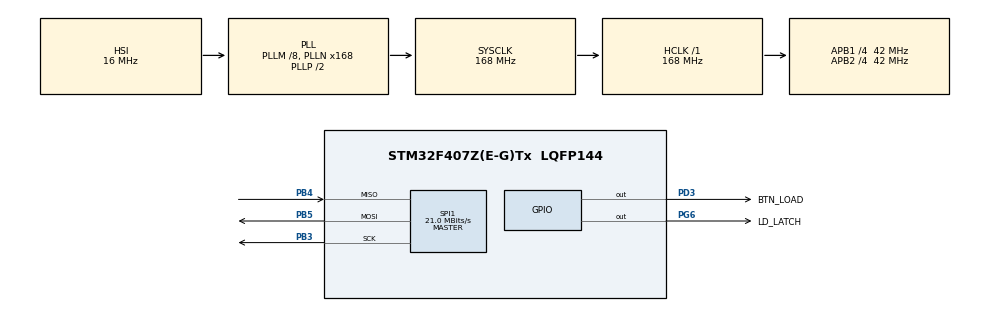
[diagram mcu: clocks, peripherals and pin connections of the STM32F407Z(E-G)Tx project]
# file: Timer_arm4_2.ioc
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Mcu.Family=STM32F4
Mcu.Name=STM32F407Z(E-G)Tx
Mcu.Package=LQFP144
NVIC.PriorityGroup=NVIC_PRIORITYGROUP_4
NVIC.TIM2_IRQn=true\:0\:0\:false\:false\:true\:true\:true\:true
PA13.Mode=Serial_Wire
PA13.Signal=SYS_JTMS-SWDIO
PA14.Mode=Serial_Wire
PA14.Signal=SYS_JTCK-SWCLK
PB3.Mode=Full_Duplex_Master
PB3.Signal=SPI1_SCK
PB4.Mode=Full_Duplex_Master
PB4.Signal=SPI1_MISO
PB5.Mode=Full_Duplex_Master
PB5.Signal=SPI1_MOSI
PD3.GPIO_Label=BTN_LOAD
PD3.Signal=GPIO_Output
PG6.GPIO_Label=LD_LATCH
PG6.Signal=GPIO_Output
PH0-OSC_IN.Mode=HSE-External-Oscillator
PH0-OSC_IN.Signal=RCC_OSC_IN
PH1-OSC_OUT.Mode=HSE-External-Oscillator
PH1-OSC_OUT.Signal=RCC_OSC_OUT
ProjectManager.HeapSize=0x200
ProjectManager.StackSize=0x400
ProjectManager.TargetToolchain=STM32CubeIDE
RCC.48MHZClocksFreq_Value=84000000
RCC.AHBFreq_Value=168000000
RCC.APB1CLKDivider=RCC_HCLK_DIV4
RCC.APB1Freq_Value=42000000
RCC.APB1TimFreq_Value=84000000
RCC.APB2CLKDivider=RCC_HCLK_DIV4
RCC.APB2Freq_Value=42000000
RCC.APB2TimFreq_Value=84000000
RCC.CortexFreq_Value=168000000
RCC.HCLKFreq_Value=168000000
RCC.HSE_VALUE=8000000
RCC.HSI_VALUE=16000000
RCC.LSE_VALUE=32768
RCC.PLLM=8
RCC.PLLN=168
RCC.SYSCLKFreq_VALUE=168000000
RCC.SYSCLKSource=RCC_SYSCLKSOURCE_PLLCLK
RCC.VCOOutputFreq_Value=336000000
SPI1.CalculateBaudRate=21.0 MBits/s
SPI1.Direction=SPI_DIRECTION_2LINES
SPI1.Mode=SPI_MODE_MASTER
SPI1.VirtualType=VM_MASTER
TIM2.Period=100-1
TIM2.Prescaler=840-1
VP_TIM2_VS_ClockSourceINT.Mode=Internal
board=custom

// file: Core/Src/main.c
/* USER CODE BEGIN Header */
/**
  ******************************************************************************
  * @file           : main.c
  * @brief          : Main program body
  ******************************************************************************
  * @attention
  *
  * Copyright (c) 2025 STMicroelectronics.
  * All rights reserved.
  *
  * This software is licensed under terms that can be found in the LICENSE file
  * in the root directory of this software component.
  * If no LICENSE file comes with this software, it is provided AS-IS.
  *
  ******************************************************************************
  */
/* USER CODE END Header */
#include "main.h"
#include "spi.h"
#include "tim.h"
#include "gpio.h"

/* USER CODE BEGIN Includes */
#include "software_timer.h"
#include "led_7seg.h"
/* USER CODE END Includes */

/* USER CODE BEGIN PV */
uint8_t colon_status = 0;
uint8_t colon_counter = 2;
uint8_t second = 50;
uint8_t minute = 14;
uint8_t hour = 15;
/* USER CODE END PV */

void SystemClock_Config(void);
/* USER CODE BEGIN PFP */
void system_init();
void clock_process();
/* USER CODE END PFP */

int main(void)
{

  /* MCU Configuration--------------------------------------------------------*/

  /* Reset of all peripherals, Initializes the Flash interface and the Systick. */
  HAL_Init();

  /* Configure the system clock */
  SystemClock_Config();

  /* Initialize all configured peripherals */
  MX_GPIO_Init();
  MX_TIM2_Init();
  MX_SPI1_Init();
  /* USER CODE BEGIN 2 */
  system_init();
  /* USER CODE END 2 */

  /* Infinite loop */
  /* USER CODE BEGIN WHILE */
  while (1)
  {
	  led_7seg_display();
	  if (timer2_flag == 1) {
		  clock_process();
		  timer2_set(1000);
	  }
    /* USER CODE END WHILE */

  }
}

void SystemClock_Config(void)
{
  RCC_OscInitTypeDef RCC_OscInitStruct = {0};
  RCC_ClkInitTypeDef RCC_ClkInitStruct = {0};

  /** Configure the main internal regulator output voltage
  */
  __HAL_RCC_PWR_CLK_ENABLE();
  __HAL_PWR_VOLTAGESCALING_CONFIG(PWR_REGULATOR_VOLTAGE_SCALE1);

  /** Initializes the RCC Oscillators according to the specified parameters
  * in the RCC_OscInitTypeDef structure.
  */
  RCC_OscInitStruct.OscillatorType = RCC_OSCILLATORTYPE_HSI;
  RCC_OscInitStruct.HSIState = RCC_HSI_ON;
  RCC_OscInitStruct.HSICalibrationValue = RCC_HSICALIBRATION_DEFAULT;
  RCC_OscInitStruct.PLL.PLLState = RCC_PLL_ON;
  RCC_OscInitStruct.PLL.PLLSource = RCC_PLLSOURCE_HSI;
  RCC_OscInitStruct.PLL.PLLM = 8;
  RCC_OscInitStruct.PLL.PLLN = 168;
  RCC_OscInitStruct.PLL.PLLP = RCC_PLLP_DIV2;
  RCC_OscInitStruct.PLL.PLLQ = 4;
  if (HAL_RCC_OscConfig(&RCC_OscInitStruct) != HAL_OK)
  {
    Error_Handler();
  }

  /** Initializes the CPU, AHB and APB buses clocks
  */
  RCC_ClkInitStruct.ClockType = RCC_CLOCKTYPE_HCLK|RCC_CLOCKTYPE_SYSCLK
                              |RCC_CLOCKTYPE_PCLK1|RCC_CLOCKTYPE_PCLK2;
  RCC_ClkInitStruct.SYSCLKSource = RCC_SYSCLKSOURCE_PLLCLK;
  RCC_ClkInitStruct.AHBCLKDivider = RCC_SYSCLK_DIV1;
  RCC_ClkInitStruct.APB1CLKDivider = RCC_HCLK_DIV4;
  RCC_ClkInitStruct.APB2CLKDivider = RCC_HCLK_DIV4;

  if (HAL_RCC_ClockConfig(&RCC_ClkInitStruct, FLASH_LATENCY_5) != HAL_OK)
  {
    Error_Handler();
  }
}

/* USER CODE BEGIN 4 */
void system_init() {
	led_7seg_init();
	timer2_init();
	timer2_set(50);
}
void clock_process() {
	led_7seg_set_digit(minute / 10, 0, 0);
	led_7seg_set_digit(minute % 10, 1, 0);
	led_7seg_set_digit(second / 10, 2, 0);
	led_7seg_set_digit(second % 10, 3, 0);
	led_7seg_set_colon(colon_status);

	second = (second + 1) % 60;
	if (second == 0) {
		minute = (minute + 1) % 60;
	}

	if (minute == 0) {
		hour = (hour + 1) % 24;
	}

	colon_counter--;
	if (colon_counter == 0) {
		colon_status = !colon_status;
		colon_counter = 2;
	}
}
/* USER CODE END 4 */

void Error_Handler(void)
{
  __disable_irq();
  while (1)
  {
  }
}
